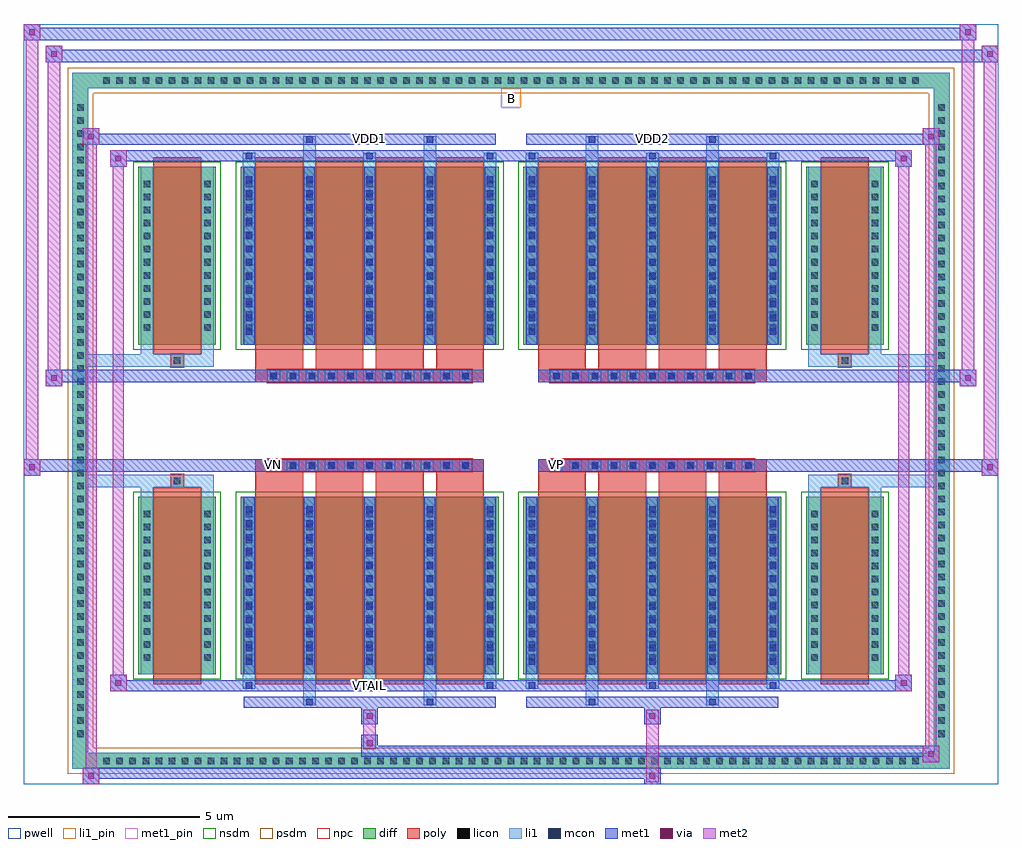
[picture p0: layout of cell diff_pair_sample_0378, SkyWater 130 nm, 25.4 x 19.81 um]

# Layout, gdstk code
import gdstk
lib = gdstk.Library(unit=1e-6, precision=5e-09)
def R(c, l, rs):  # rectangles x0, y0, x1, y1
    for r in rs: c.add(gdstk.rectangle(r[:2], r[2:], *l))
def A(c, l, x, y, w, h, nx, ny, dx, dy):  # array of equal rectangles
    R(c, l, [(x+i*dx, y+j*dy, x+i*dx+w, y+j*dy+h) for i in range(nx) for j in range(ny)])
def P(c, l, *ps):  # polygons
    for p in ps: c.add(gdstk.Polygon(p, *l))
pwell = (64, 44)
diff = (65, 20)
poly = (66, 20)
licon = (66, 44)
li1_pin = (67, 16)
li1 = (67, 20)
mcon = (67, 44)
met1_pin = (68, 16)
met1 = (68, 20)
via = (68, 44)
met2 = (69, 20)
nsdm = (93, 44)
psdm = (94, 20)
npc = (95, 20)

diff_pair_sample_0378 = lib.new_cell('diff_pair_sample_0378')
R(diff_pair_sample_0378, pwell, [(-12.7,-9.47,12.7,10.34), (-10.02,-7.66,-0.01,-0.8), (0.01,-7.66,10.02,-0.8), (-10.02,0.8,-0.01,7.66), (0.01,0.8,10.02,7.66)])
A(diff_pair_sample_0378, diff, -10.745, -9.07, 0.41, 0.41, 63, 2, 0.34, 17.73)
A(diff_pair_sample_0378, diff, -11.43, -8.365, 0.41, 0.41, 1, 49, 0, 0.34)
A(diff_pair_sample_0378, diff, 11.02, -8.365, 0.41, 0.41, 1, 49, 0, 0.34)
R(diff_pair_sample_0378, diff, [(-10.745,-9.07,10.745,-8.66), (-11.43,-8.365,-11.02,8.365), (11.02,-8.365,11.43,8.365), (-9.71,-6.615,-7.69,-1.985), (-7.05,-6.615,-0.32,-1.985), (0.32,-6.615,7.05,-1.985), (7.69,-6.615,9.71,-1.985), (-9.71,1.985,-7.69,6.615), (-7.05,1.985,-0.32,6.615), (0.32,1.985,7.05,6.615), (7.69,1.985,9.71,6.615), (-10.745,8.66,10.745,9.07)])
P(diff_pair_sample_0378, diff, [(11.43,9.07),(-11.43,9.07),(-11.43,-8.66),(-11.02,-8.66),(-11.02,8.66),(11.02,8.66),(11.02,-8.66),(-11.02,-8.66),(-11.43,-8.66),(-11.43,-9.07),(11.43,-9.07)])
A(diff_pair_sample_0378, poly, -6.66, -6.865, 1.24, 5.13, 4, 2, 1.57, 8.6)
A(diff_pair_sample_0378, poly, 0.71, -6.865, 1.24, 5.13, 4, 2, 1.57, 8.6)
A(diff_pair_sample_0378, poly, -6.66, -1.735, 1.24, 0.405, 4, 2, 1.57, 3.065)
A(diff_pair_sample_0378, poly, 0.71, -1.735, 1.24, 0.405, 4, 2, 1.57, 3.065)
A(diff_pair_sample_0378, poly, -6.35, -1.33, 0.33, 0.33, 11, 2, 0.5, 2.33)
A(diff_pair_sample_0378, poly, 1.02, -1.33, 0.33, 0.33, 11, 2, 0.5, 2.33)
R(diff_pair_sample_0378, poly, [(-9.32,-6.865,-8.08,-1.735), (8.08,-6.865,9.32,-1.735), (-8.865,-1.735,-8.535,-1.405), (-8.865,-1.735,-8.535,-1.405), (8.535,-1.735,8.865,-1.405), (8.535,-1.735,8.865,-1.405), (-6.66,-1.33,-0.71,-1), (0.71,-1.33,6.66,-1), (-6.66,1,-0.71,1.33), (0.71,1,6.66,1.33), (-8.865,1.405,-8.535,1.735), (-8.865,1.405,-8.535,1.735), (8.535,1.405,8.865,1.735), (8.535,1.405,8.865,1.735), (-9.32,1.735,-8.08,6.865), (8.08,1.735,9.32,6.865)])
A(diff_pair_sample_0378, licon, -10.625, -8.95, 0.17, 0.17, 63, 2, 0.34, 17.73)
A(diff_pair_sample_0378, licon, -11.31, -8.245, 0.17, 0.17, 1, 49, 0, 0.34)
A(diff_pair_sample_0378, licon, 11.14, -8.245, 0.17, 0.17, 1, 49, 0, 0.34)
A(diff_pair_sample_0378, licon, -9.57, -6.255, 0.17, 0.17, 1, 12, 0, 0.34)
A(diff_pair_sample_0378, licon, -8, -6.255, 0.17, 0.17, 1, 12, 0, 0.34)
A(diff_pair_sample_0378, licon, -6.91, -6.255, 0.17, 0.17, 5, 12, 1.57, 0.34)
A(diff_pair_sample_0378, licon, 0.46, -6.255, 0.17, 0.17, 5, 12, 1.57, 0.34)
A(diff_pair_sample_0378, licon, 7.83, -6.255, 0.17, 0.17, 1, 12, 0, 0.34)
A(diff_pair_sample_0378, licon, 9.4, -6.255, 0.17, 0.17, 1, 12, 0, 0.34)
A(diff_pair_sample_0378, licon, -6.27, -1.25, 0.17, 0.17, 11, 2, 0.5, 2.33)
A(diff_pair_sample_0378, licon, 1.1, -1.25, 0.17, 0.17, 11, 2, 0.5, 2.33)
A(diff_pair_sample_0378, licon, -9.57, 2.345, 0.17, 0.17, 1, 12, 0, 0.34)
A(diff_pair_sample_0378, licon, -8, 2.345, 0.17, 0.17, 1, 12, 0, 0.34)
A(diff_pair_sample_0378, licon, -6.91, 2.345, 0.17, 0.17, 5, 12, 1.57, 0.34)
A(diff_pair_sample_0378, licon, 0.46, 2.345, 0.17, 0.17, 5, 12, 1.57, 0.34)
A(diff_pair_sample_0378, licon, 7.83, 2.345, 0.17, 0.17, 1, 12, 0, 0.34)
A(diff_pair_sample_0378, licon, 9.4, 2.345, 0.17, 0.17, 1, 12, 0, 0.34)
R(diff_pair_sample_0378, licon, [(-8.785,-1.655,-8.615,-1.485), (8.615,-1.655,8.785,-1.485), (-8.785,1.485,-8.615,1.655), (8.615,1.485,8.785,1.655)])
R(diff_pair_sample_0378, li1_pin, [(-0.25,8.16,0.25,8.66)])
A(diff_pair_sample_0378, li1, -10.705, -9.03, 0.33, 0.33, 63, 2, 0.34, 17.73)
A(diff_pair_sample_0378, li1, -11.39, -8.325, 0.33, 0.33, 1, 49, 0, 0.34)
A(diff_pair_sample_0378, li1, 11.06, -8.325, 0.33, 0.33, 1, 49, 0, 0.34)
A(diff_pair_sample_0378, li1, -6.99, -6.99, 0.33, 0.375, 3, 2, 3.14, 13.605)
A(diff_pair_sample_0378, li1, -6.91, -6.99, 0.17, 0.17, 3, 2, 3.14, 13.81)
A(diff_pair_sample_0378, li1, 0.38, -6.99, 0.33, 0.375, 3, 2, 3.14, 13.605)
A(diff_pair_sample_0378, li1, 0.46, -6.99, 0.17, 0.17, 3, 2, 3.14, 13.81)
A(diff_pair_sample_0378, li1, -6.99, -6.615, 0.33, 4.63, 5, 2, 1.57, 8.6)
A(diff_pair_sample_0378, li1, 0.38, -6.615, 0.33, 4.63, 5, 2, 1.57, 8.6)
A(diff_pair_sample_0378, li1, -6.91, -6.365, 0.17, 0.17, 5, 12, 1.57, 0.36)
A(diff_pair_sample_0378, li1, -6.91, -6.365, 0.17, 4.13, 5, 2, 1.57, 8.6)
A(diff_pair_sample_0378, li1, 0.46, -6.365, 0.17, 0.17, 5, 12, 1.57, 0.36)
A(diff_pair_sample_0378, li1, 0.46, -6.365, 0.17, 4.13, 5, 2, 1.57, 8.6)
A(diff_pair_sample_0378, li1, -9.65, -6.335, 0.33, 0.33, 1, 12, 0, 0.34)
A(diff_pair_sample_0378, li1, -8.08, -6.335, 0.33, 0.33, 1, 12, 0, 0.34)
A(diff_pair_sample_0378, li1, -6.99, -6.335, 0.33, 0.33, 5, 12, 1.57, 0.34)
A(diff_pair_sample_0378, li1, 0.38, -6.335, 0.33, 0.33, 5, 12, 1.57, 0.34)
A(diff_pair_sample_0378, li1, 7.75, -6.335, 0.33, 0.33, 1, 12, 0, 0.34)
A(diff_pair_sample_0378, li1, 9.32, -6.335, 0.33, 0.33, 1, 12, 0, 0.34)
A(diff_pair_sample_0378, li1, -6.35, -1.33, 0.33, 0.33, 11, 2, 0.5, 2.33)
A(diff_pair_sample_0378, li1, 1.02, -1.33, 0.33, 0.33, 11, 2, 0.5, 2.33)
A(diff_pair_sample_0378, li1, -6.91, 2.235, 0.17, 0.17, 5, 12, 1.57, 0.36)
A(diff_pair_sample_0378, li1, 0.46, 2.235, 0.17, 0.17, 5, 12, 1.57, 0.36)
A(diff_pair_sample_0378, li1, -9.65, 2.265, 0.33, 0.33, 1, 12, 0, 0.34)
A(diff_pair_sample_0378, li1, -8.08, 2.265, 0.33, 0.33, 1, 12, 0, 0.34)
A(diff_pair_sample_0378, li1, -6.99, 2.265, 0.33, 0.33, 5, 12, 1.57, 0.34)
A(diff_pair_sample_0378, li1, 0.38, 2.265, 0.33, 0.33, 5, 12, 1.57, 0.34)
A(diff_pair_sample_0378, li1, 7.75, 2.265, 0.33, 0.33, 1, 12, 0, 0.34)
A(diff_pair_sample_0378, li1, 9.32, 2.265, 0.33, 0.33, 1, 12, 0, 0.34)
R(diff_pair_sample_0378, li1, [(-11.43,-9.07,-11.02,-8.66), (-11.43,-9.07,-11.02,-8.66), (-11.02,-9.07,11.02,-8.66), (11.02,-9.07,11.43,-8.66), (11.02,-9.07,11.43,-8.66), (-11.43,-8.66,-11.02,8.66), (11.02,-8.66,11.43,8.66), (-5.42,-7.42,-5.09,-6.615), (-5.34,-7.42,-5.17,-7.25), (-2.28,-7.42,-1.95,-6.615), (-2.2,-7.42,-2.03,-7.25), (1.95,-7.42,2.28,-6.615), (2.03,-7.42,2.2,-7.25), (5.09,-7.42,5.42,-6.615), (5.17,-7.42,5.34,-7.25), (-9.65,-6.615,-9.32,-1.985), (-8.08,-6.615,-7.75,-1.985), (7.75,-6.615,8.08,-1.985), (9.32,-6.615,9.65,-1.985), (-9.65,-1.985,-9.32,-1.405), (-8.08,-1.985,-7.75,-1.405), (7.75,-1.985,8.08,-1.405), (9.32,-1.985,9.65,-1.405), (-11.43,-1.735,-8.865,-1.405), (-9.65,-1.735,-8.865,-1.405), (-8.865,-1.735,-8.535,-1.405), (-8.535,-1.735,-7.75,-1.405), (7.75,-1.735,8.535,-1.405), (8.535,-1.735,8.865,-1.405), (8.535,-1.735,11.43,-1.405), (8.865,-1.735,9.65,-1.405), (-11.43,1.405,-8.865,1.735), (-9.65,1.405,-8.865,1.735), (-9.65,1.405,-9.32,1.985), (-8.865,1.405,-8.535,1.735), (-8.535,1.405,-7.75,1.735), (-8.08,1.405,-7.75,1.985), (7.75,1.405,8.535,1.735), (7.75,1.405,8.08,1.985), (8.535,1.405,8.865,1.735), (8.535,1.405,11.43,1.735), (8.865,1.405,9.65,1.735), (9.32,1.405,9.65,1.985), (-9.65,1.985,-9.32,6.615), (-8.08,1.985,-7.75,6.615), (7.75,1.985,8.08,6.615), (9.32,1.985,9.65,6.615), (-5.42,6.615,-5.09,7.42), (-2.28,6.615,-1.95,7.42), (1.95,6.615,2.28,7.42), (5.09,6.615,5.42,7.42), (-5.34,7.25,-5.17,7.42), (-2.2,7.25,-2.03,7.42), (2.03,7.25,2.2,7.42), (5.17,7.25,5.34,7.42), (-11.43,8.66,-11.02,9.07), (-11.43,8.66,-11.02,9.07), (-11.02,8.66,11.02,9.07), (11.02,8.66,11.43,9.07), (11.02,8.66,11.43,9.07)])
A(diff_pair_sample_0378, mcon, -6.91, -6.99, 0.17, 0.17, 3, 2, 3.14, 13.81)
A(diff_pair_sample_0378, mcon, 0.46, -6.99, 0.17, 0.17, 3, 2, 3.14, 13.81)
A(diff_pair_sample_0378, mcon, -6.91, -6.365, 0.17, 0.17, 5, 12, 1.57, 0.36)
A(diff_pair_sample_0378, mcon, 0.46, -6.365, 0.17, 0.17, 5, 12, 1.57, 0.36)
A(diff_pair_sample_0378, mcon, -6.27, -1.25, 0.17, 0.17, 11, 2, 0.5, 2.33)
A(diff_pair_sample_0378, mcon, 1.1, -1.25, 0.17, 0.17, 11, 2, 0.5, 2.33)
A(diff_pair_sample_0378, mcon, -6.91, 2.235, 0.17, 0.17, 5, 12, 1.57, 0.36)
A(diff_pair_sample_0378, mcon, 0.46, 2.235, 0.17, 0.17, 5, 12, 1.57, 0.36)
R(diff_pair_sample_0378, mcon, [(-5.34,-7.42,-5.17,-7.25), (-2.2,-7.42,-2.03,-7.25), (2.03,-7.42,2.2,-7.25), (5.17,-7.42,5.34,-7.25), (-5.34,7.25,-5.17,7.42), (-2.2,7.25,-2.03,7.42), (2.03,7.25,2.2,7.42), (5.17,7.25,5.34,7.42)])
R(diff_pair_sample_0378, met1_pin, [(-3.82,-7.03,-3.55,-6.76), (-6.32,-1.29,-6.05,-1.02), (1.05,-1.29,1.32,-1.02), (-3.82,7.21,-3.55,7.48), (3.55,7.21,3.82,7.48)])
A(diff_pair_sample_0378, met1, -6.97, -7.05, 0.29, 0.29, 3, 2, 3.14, 13.81)
A(diff_pair_sample_0378, met1, 0.4, -7.05, 0.29, 0.29, 3, 2, 3.14, 13.81)
A(diff_pair_sample_0378, met1, -6.97, -6.615, 0.29, 4.63, 5, 2, 1.57, 8.6)
A(diff_pair_sample_0378, met1, 0.4, -6.615, 0.29, 4.63, 5, 2, 1.57, 8.6)
A(diff_pair_sample_0378, met1, -6.97, -6.425, 0.29, 0.29, 5, 12, 1.57, 0.36)
A(diff_pair_sample_0378, met1, 0.4, -6.425, 0.29, 0.29, 5, 12, 1.57, 0.36)
A(diff_pair_sample_0378, met1, -6.33, -1.31, 0.29, 0.29, 11, 2, 0.5, 2.33)
A(diff_pair_sample_0378, met1, 1.04, -1.31, 0.29, 0.29, 11, 2, 0.5, 2.33)
A(diff_pair_sample_0378, met1, -6.97, 2.175, 0.29, 0.29, 5, 12, 1.57, 0.36)
A(diff_pair_sample_0378, met1, 0.4, 2.175, 0.29, 0.29, 5, 12, 1.57, 0.36)
R(diff_pair_sample_0378, met1, [(-11.16,-9.47,-10.73,-9.04), (3.47,-9.47,3.9,-9.04), (-11.16,-9.33,3.9,-9.04), (10.73,-8.9,11.16,-8.47), (-3.9,-8.76,11.16,-8.47), (-3.9,-8.62,-3.47,-8.19), (-3.9,-7.91,-3.47,-7.48), (3.47,-7.91,3.9,-7.48), (-6.97,-7.48,-0.4,-7.19), (-5.4,-7.48,-5.11,-7.19), (-2.26,-7.48,-1.97,-7.19), (0.4,-7.48,6.97,-7.19), (1.97,-7.48,2.26,-7.19), (5.11,-7.48,5.4,-7.19), (-10.45,-7.05,-10.02,-6.62), (-10.45,-7.05,-6.97,-6.76), (-6.97,-7.05,-0.4,-6.76), (-0.4,-7.05,0.4,-6.76), (0.4,-7.05,6.97,-6.76), (6.97,-7.05,10.45,-6.76), (10.02,-7.05,10.45,-6.62), (-12.7,-1.43,-12.27,-1), (12.27,-1.43,12.7,-1), (-12.7,-1.33,-0.71,-1), (-6.66,-1.33,-0.71,-1), (0.71,-1.33,6.66,-1), (0.71,-1.33,12.7,-1), (-12.13,0.9,-11.7,1.33), (11.7,0.9,12.13,1.33), (-12.13,1,-6.66,1.33), (-6.66,1,-0.71,1.33), (0.71,1,6.66,1.33), (6.66,1,12.13,1.33), (-10.45,6.62,-10.02,7.05), (10.02,6.62,10.45,7.05), (-10.45,6.76,-6.97,7.05), (-6.97,6.76,-0.4,7.05), (-0.4,6.76,0.4,7.05), (0.4,6.76,6.97,7.05), (6.97,6.76,10.45,7.05), (-11.16,7.19,-10.73,7.62), (-11.16,7.19,-6.97,7.48), (-6.97,7.19,-0.4,7.48), (-5.4,7.19,-5.11,7.48), (-2.26,7.19,-1.97,7.48), (0.4,7.19,6.97,7.48), (1.97,7.19,2.26,7.48), (5.11,7.19,5.4,7.48), (6.97,7.19,11.16,7.48), (10.73,7.19,11.16,7.62), (-12.13,9.34,-11.7,9.77), (-12.13,9.34,-10.02,9.67), (-10.02,9.34,10.02,9.67), (10.02,9.34,12.7,9.67), (12.27,9.34,12.7,9.77), (-12.7,9.91,-12.27,10.34), (-12.7,9.91,-10.02,10.24), (-10.02,9.91,10.02,10.24), (10.02,9.91,12.13,10.24), (11.7,9.91,12.13,10.34)])
R(diff_pair_sample_0378, via, [(-11.02,-9.33,-10.87,-9.18), (3.61,-9.33,3.76,-9.18), (10.87,-8.76,11.02,-8.61), (-3.76,-8.48,-3.61,-8.33), (-3.76,-7.77,-3.61,-7.62), (3.61,-7.77,3.76,-7.62), (-10.31,-6.91,-10.16,-6.76), (10.16,-6.91,10.31,-6.76), (-12.56,-1.29,-12.41,-1.14), (12.41,-1.29,12.56,-1.14), (-11.99,1.04,-11.84,1.19), (11.84,1.04,11.99,1.19), (-10.31,6.76,-10.16,6.91), (10.16,6.76,10.31,6.91), (-11.02,7.33,-10.87,7.48), (10.87,7.33,11.02,7.48), (-11.99,9.48,-11.84,9.63), (12.41,9.48,12.56,9.63), (-12.56,10.05,-12.41,10.2), (11.84,10.05,11.99,10.2)])
R(diff_pair_sample_0378, met2, [(-11.16,-9.47,-10.73,-9.04), (-11.09,-9.47,-10.8,7.62), (-10.8,-9.47,-10.73,-9.04), (-11.11,-9.42,-10.78,-9.09), (3.52,-9.42,3.85,-9.09), (3.52,-9.09,3.85,-7.86), (10.73,-8.9,11.16,-8.47), (10.8,-8.9,11.09,7.62), (11.09,-8.9,11.16,-8.47), (10.78,-8.85,11.11,-8.52), (-3.85,-8.57,-3.52,-8.24), (-3.85,-8.24,-3.52,-7.86), (-3.85,-7.86,-3.52,-7.53), (3.52,-7.86,3.85,-7.53), (-10.45,-7.05,-10.02,-6.62), (-10.38,-7.05,-10.09,7.05), (-10.09,-7.05,-10.02,-6.62), (10.02,-7.05,10.45,-6.62), (10.09,-7.05,10.38,7.05), (10.38,-7.05,10.45,-6.62), (-10.4,-7,-10.07,-6.67), (10.07,-7,10.4,-6.67), (-12.7,-1.43,-12.27,-1), (-12.65,-1.43,-12.32,10.34), (-12.32,-1.43,-12.27,-1), (12.27,-1.43,12.7,-1), (12.32,-1.43,12.65,9.77), (12.65,-1.43,12.7,-1), (-12.65,-1.38,-12.32,-1.05), (12.32,-1.38,12.65,-1.05), (-12.13,0.9,-11.7,1.33), (-12.08,0.9,-11.75,9.77), (-11.75,0.9,-11.7,1.33), (11.7,0.9,12.13,1.33), (11.75,0.9,12.08,10.34), (12.08,0.9,12.13,1.33), (-12.08,0.95,-11.75,1.28), (11.75,0.95,12.08,1.28), (-10.45,6.62,-10.02,7.05), (-10.09,6.62,-10.02,7.05), (10.02,6.62,10.45,7.05), (10.38,6.62,10.45,7.05), (-10.4,6.67,-10.07,7), (10.07,6.67,10.4,7), (-11.16,7.19,-10.73,7.62), (-10.8,7.19,-10.73,7.62), (10.73,7.19,11.16,7.62), (11.09,7.19,11.16,7.62), (-11.11,7.24,-10.78,7.57), (10.78,7.24,11.11,7.57), (-12.13,9.34,-11.7,9.77), (-11.75,9.34,-11.7,9.77), (12.27,9.34,12.7,9.77), (12.65,9.34,12.7,9.77), (-12.08,9.39,-11.75,9.72), (12.32,9.39,12.65,9.72), (-12.7,9.91,-12.27,10.34), (-12.32,9.91,-12.27,10.34), (11.7,9.91,12.13,10.34), (12.08,9.91,12.13,10.34), (-12.65,9.96,-12.32,10.29), (11.75,9.96,12.08,10.29)])
R(diff_pair_sample_0378, nsdm, [(-9.84,-6.745,-7.56,-1.855), (-7.18,-6.745,-0.19,-1.855), (0.19,-6.745,7.18,-1.855), (7.56,-6.745,9.84,-1.855), (-9.84,1.855,-7.56,6.745), (-7.18,1.855,-0.19,6.745), (0.19,1.855,7.18,6.745), (7.56,1.855,9.84,6.745)])
P(diff_pair_sample_0378, psdm, [(11.56,9.2),(-11.56,9.2),(-11.56,-8.53),(-10.89,-8.53),(-10.89,8.53),(10.89,8.53),(10.89,-8.53),(-10.89,-8.53),(-11.56,-8.53),(-11.56,-9.2),(11.56,-9.2)])
A(diff_pair_sample_0378, npc, -6.37, -1.35, 0.37, 0.37, 11, 2, 0.5, 2.33)
A(diff_pair_sample_0378, npc, 1, -1.35, 0.37, 0.37, 11, 2, 0.5, 2.33)
R(diff_pair_sample_0378, npc, [(-8.885,-1.755,-8.515,-1.385), (8.515,-1.755,8.885,-1.385), (-6.37,-1.35,-5.5,-0.98), (-6.37,-1.35,-5.5,-0.98), (-5.87,-1.35,-5,-0.98), (-5.87,-1.35,-5,-0.98), (-5.37,-1.35,-4.5,-0.98), (-5.37,-1.35,-4.5,-0.98), (-4.87,-1.35,-4,-0.98), (-4.87,-1.35,-4,-0.98), (-4.37,-1.35,-3.5,-0.98), (-4.37,-1.35,-3.5,-0.98), (-3.87,-1.35,-3,-0.98), (-3.87,-1.35,-3,-0.98), (-3.37,-1.35,-2.5,-0.98), (-3.37,-1.35,-2.5,-0.98), (-2.87,-1.35,-2,-0.98), (-2.87,-1.35,-2,-0.98), (-2.37,-1.35,-1.5,-0.98), (-2.37,-1.35,-1.5,-0.98), (-1.87,-1.35,-1,-0.98), (-1.87,-1.35,-1,-0.98), (1,-1.35,1.87,-0.98), (1,-1.35,1.87,-0.98), (1.5,-1.35,2.37,-0.98), (1.5,-1.35,2.37,-0.98), (2,-1.35,2.87,-0.98), (2,-1.35,2.87,-0.98), (2.5,-1.35,3.37,-0.98), (2.5,-1.35,3.37,-0.98), (3,-1.35,3.87,-0.98), (3,-1.35,3.87,-0.98), (3.5,-1.35,4.37,-0.98), (3.5,-1.35,4.37,-0.98), (4,-1.35,4.87,-0.98), (4,-1.35,4.87,-0.98), (4.5,-1.35,5.37,-0.98), (4.5,-1.35,5.37,-0.98), (5,-1.35,5.87,-0.98), (5,-1.35,5.87,-0.98), (5.5,-1.35,6.37,-0.98), (5.5,-1.35,6.37,-0.98), (-6.37,0.98,-5.5,1.35), (-6.37,0.98,-5.5,1.35), (-5.87,0.98,-5,1.35), (-5.87,0.98,-5,1.35), (-5.37,0.98,-4.5,1.35), (-5.37,0.98,-4.5,1.35), (-4.87,0.98,-4,1.35), (-4.87,0.98,-4,1.35), (-4.37,0.98,-3.5,1.35), (-4.37,0.98,-3.5,1.35), (-3.87,0.98,-3,1.35), (-3.87,0.98,-3,1.35), (-3.37,0.98,-2.5,1.35), (-3.37,0.98,-2.5,1.35), (-2.87,0.98,-2,1.35), (-2.87,0.98,-2,1.35), (-2.37,0.98,-1.5,1.35), (-2.37,0.98,-1.5,1.35), (-1.87,0.98,-1,1.35), (-1.87,0.98,-1,1.35), (1,0.98,1.87,1.35), (1,0.98,1.87,1.35), (1.5,0.98,2.37,1.35), (1.5,0.98,2.37,1.35), (2,0.98,2.87,1.35), (2,0.98,2.87,1.35), (2.5,0.98,3.37,1.35), (2.5,0.98,3.37,1.35), (3,0.98,3.87,1.35), (3,0.98,3.87,1.35), (3.5,0.98,4.37,1.35), (3.5,0.98,4.37,1.35), (4,0.98,4.87,1.35), (4,0.98,4.87,1.35), (4.5,0.98,5.37,1.35), (4.5,0.98,5.37,1.35), (5,0.98,5.87,1.35), (5,0.98,5.87,1.35), (5.5,0.98,6.37,1.35), (5.5,0.98,6.37,1.35), (-8.885,1.385,-8.515,1.755), (8.515,1.385,8.885,1.755)])
diff_pair_sample_0378.add(gdstk.Label('VTAIL', (-3.685,-6.895), layer=68, texttype=5))
diff_pair_sample_0378.add(gdstk.Label('VN', (-6.185,-1.155), layer=68, texttype=5))
diff_pair_sample_0378.add(gdstk.Label('VP', (1.185,-1.155), layer=68, texttype=5))
diff_pair_sample_0378.add(gdstk.Label('B', (0,8.41), layer=67, texttype=5))
diff_pair_sample_0378.add(gdstk.Label('VDD2', (3.685,7.345), layer=68, texttype=5))
diff_pair_sample_0378.add(gdstk.Label('VDD1', (-3.685,7.345), layer=68, texttype=5))

lib.write_gds('diff_pair_sample_0378.gds')
